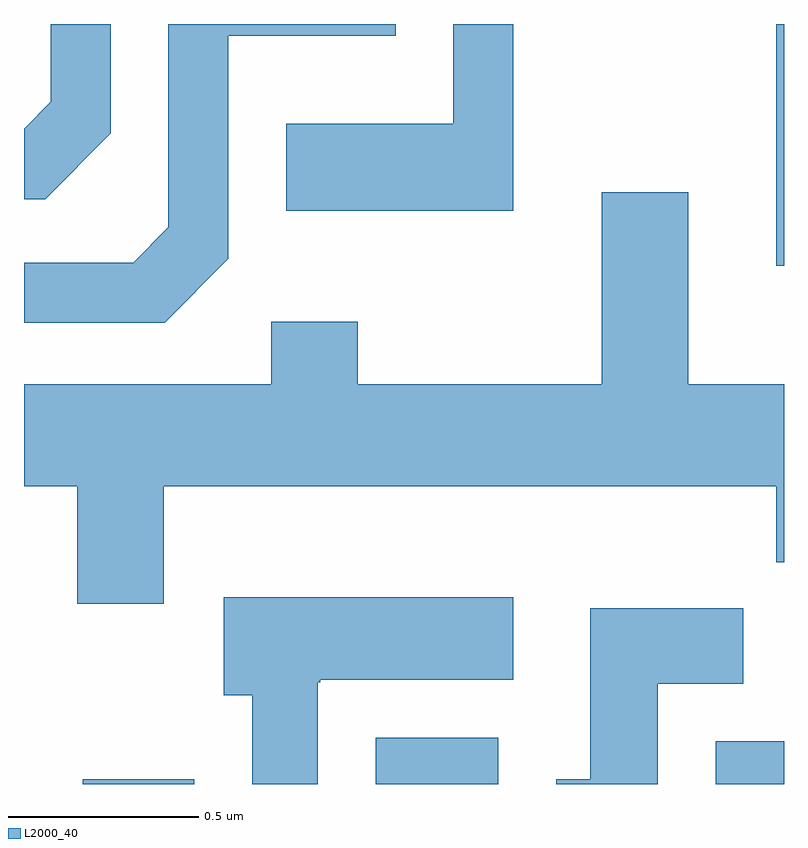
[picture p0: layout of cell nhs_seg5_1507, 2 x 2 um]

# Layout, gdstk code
import gdstk
lib = gdstk.Library(unit=1e-6, precision=1e-09)
def R(c, l, rs):  # rectangles x0, y0, x1, y1
    for r in rs: c.add(gdstk.rectangle(r[:2], r[2:], *l))
def P(c, l, *ps):  # polygons
    for p in ps: c.add(gdstk.Polygon(p, *l))
L2000_40 = (2000, 40)

nhs_seg5_1507 = lib.new_cell('nhs_seg5_1507')
R(nhs_seg5_1507, L2000_40, [(196.766,1396.072,197.059,1396.084), (197.536,1396.072,197.859,1396.194), (198.431,1396.072,198.611,1396.184), (198.591,1397.436,198.611,1398.072)])
P(nhs_seg5_1507, L2000_40, [(196.839,1397.784),(196.839,1398.072),(196.681,1398.072),(196.681,1397.867),(196.611,1397.796),(196.611,1397.611),(196.667,1397.611)],
  [(197.149,1397.454),(197.149,1398.041),(197.589,1398.041),(197.589,1398.072),(196.991,1398.072),(196.991,1397.537),(196.899,1397.444),(196.611,1397.444),(196.611,1397.286),(196.982,1397.286)],
  [(197.899,1398.072),(197.741,1398.072),(197.741,1397.809),(197.301,1397.809),(197.301,1397.581),(197.899,1397.581)],
  [(196.979,1396.856),(198.591,1396.856),(198.591,1396.656),(198.611,1396.656),(198.611,1397.124),(198.359,1397.124),(198.359,1397.629),(198.131,1397.629),(198.131,1397.124),(197.489,1397.124),(197.489,1397.289),(197.261,1397.289),(197.261,1397.124),(196.611,1397.124),(196.611,1396.856),(196.751,1396.856),(196.751,1396.546),(196.979,1396.546)],
  [(197.384,1396.34),(197.39,1396.34),(197.39,1396.346),(197.899,1396.346),(197.899,1396.564),(197.136,1396.564),(197.136,1396.306),(197.211,1396.306),(197.211,1396.072),(197.384,1396.072)],
  [(198.279,1396.336),(198.504,1396.336),(198.504,1396.534),(198.101,1396.534),(198.101,1396.084),(198.011,1396.084),(198.011,1396.072),(198.279,1396.072)])

lib.write_gds('nhs_seg5_1507.gds')
